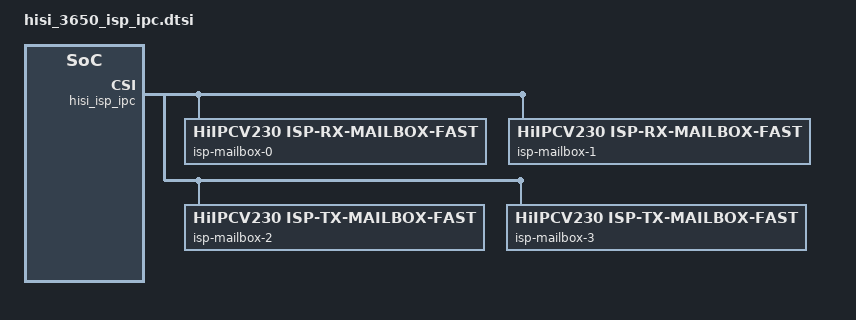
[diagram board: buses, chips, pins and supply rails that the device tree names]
/*
 * Hisilicon Ltd. Hi3650 SoC
 *
 * Copyright (C) 2014- Hisilicon Ltd.
 *
 * This program is free software; you can redistribute it and/or modify
 * it under the terms of the GNU General Public License version 2 as
 * publishhed by the Free Software Foundation.
 */

 /{
	hisi_isp_ipc: ipc@e8582000 {
		#address-cells = <2>;
		#size-cells = <2>;
		compatible = "hisilicon,HiIPCV230";
		reg = <0x0 0xe8582000 0x0 0x1000>;
		interrupts = <0 271 4>, <0 271 4>;

		/*
		 * "remote processor type"
		 * <remote_processor_type: meaning>
		 * <0: A53>;
		 * <1: ISP_A7>;
		 * <2: LPM3>;
		 *
		 * "remote processor"
		 * <remote_processor, remote_processor_type>
		 * <"HI3650_ISP_IPC_GIC",	0>;
		 * <"HI3650_ISP_IPC_ISP_MBX0",	1>;
		 * <"HI3650_ISP_IPC_ISP_MBX1",	1>;
		 * <"HI3650_ISP_IPC_ISP_MBX2",	1>;
		 * <"HI3650_ISP_IPC_ISP_MBX3",	1>;
		 */
		remote_processor_num = <5>;
		remote_processor = "HI3650_ISP_IPC_GIC",
				"HI3650_ISP_IPC_ISP_MBX0",
				"HI3650_ISP_IPC_ISP_MBX1",
				"HI3650_ISP_IPC_ISP_MBX2",
				"HI3650_ISP_IPC_ISP_MBX3";
		remote_processor_type = <0 1 1 1 1>;
		unlock_key = <0x1ACCE551>;
		capability = <8>;
		status = "ok";

		/*
		 * "func"
		 * <mbox_type, is_src_mbox, is_des_mbox>;
		 */
		mailboxes = <4>;/*don't forget to increase the number when add a mailbox channel or decrease when delete one*/
		isp-mailbox-0 {
			compatible = "HiIPCV230,isp-rx-mailbox-fast";
			func = <1 0 1>;
			interrupts = <0 269 4>;
			src_remote_processor = "HI3650_ISP_IPC_ISP_MBX0";
			des_remote_processor = "HI3650_ISP_IPC_GIC";
			src_bit = <1>;
			des_bit = <0>;
			index = <0>;
		};

		isp-mailbox-1 {
			compatible = "HiIPCV230,isp-rx-mailbox-fast";
			func = <1 0 1>;
			interrupts = <0 270 4>;
			src_remote_processor = "HI3650_ISP_IPC_ISP_MBX1";
			des_remote_processor = "HI3650_ISP_IPC_GIC";
			src_bit = <1>;
			des_bit = <0>;
			index = <1>;
		};

		isp-mailbox-2 {
			compatible = "HiIPCV230,isp-tx-mailbox-fast";
			func = <1 1 0>;
			src_remote_processor = "HI3650_ISP_IPC_GIC";
			des_remote_processor = "HI3650_ISP_IPC_ISP_MBX2";
			src_bit = <0>;
			des_bit = <1>;
			index = <2>;
		};

		isp-mailbox-3 {
			compatible = "HiIPCV230,isp-tx-mailbox-fast";
			func = <1 1 0>;
			src_remote_processor = "HI3650_ISP_IPC_GIC";
			des_remote_processor = "HI3650_ISP_IPC_ISP_MBX3";
			src_bit = <0>;
			des_bit = <1>;
			index = <3>;
		};
		/*this mailbox is virtual for software process*/
/*******************maybe used in the future		
		isp-mailbox-x {
			compatible = "HiIPCV230,mailbox-comm-isp";
			func = <0 1 1>;
			src_remote_processor = "HI3650_ISP_IPC_ISP_MBXX";
			des_remote_processor = "HI3650_ISP_IPC_ISP_MBXX";
			src_bit = <8>;
			des_bit = <8>;
			index = <255>;
		};
********************/		

	};
 };
